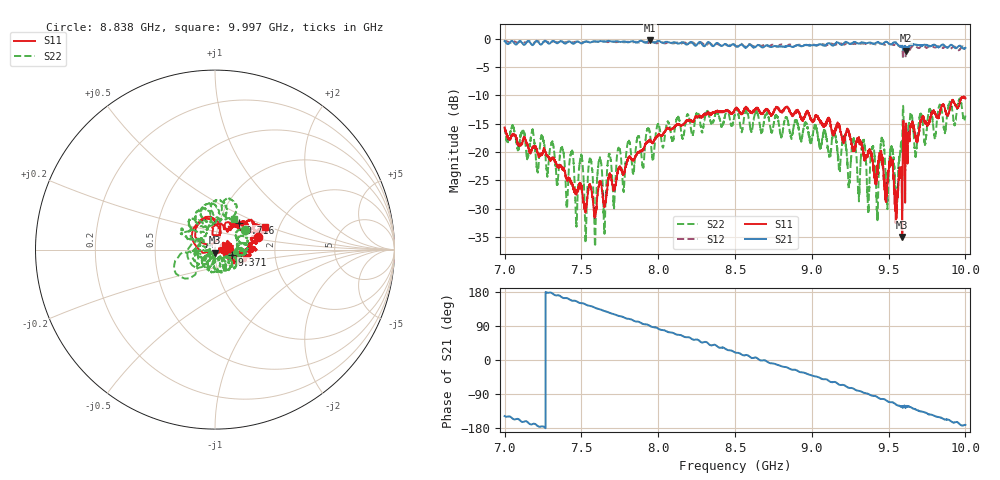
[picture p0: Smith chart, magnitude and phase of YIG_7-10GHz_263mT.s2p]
#  HZ  S  RI  R  50.0
! Rohde & Schwarz ZVL13 2Ports - Version 3.31 - 1303.6509k13 SN: 101088
! Date: 2023-03-06 15:32:27
! Data & Calibration Information:
! Trc4:S11(TOSM) Trc2:S21(TOSM) Trc3:S12(TOSM) Trc5:S22(TOSM)
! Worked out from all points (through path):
!   4000 points, 7 GHz to 10 GHz, reference 50 ohm
!   highest |S21| = -0.33 dB at 7.944 GHz (marker M1); lowest = -2.1 dB at 9.612 GHz (marker M2)
!   group delay of S21, straight-line fit = 357 ps
!   lowest |S11| = -35.0 dB at 9.589 GHz (marker M3), VSWR 1.04, Z = 50.1 - j1.79 ohm
!   |S11| at or under -10 dB: start of sweep to end of sweep
!   |S22| runs from -36.6 to -10.5 dB; largest |S21 - S12| = 0.13
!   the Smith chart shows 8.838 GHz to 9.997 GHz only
!   S11 on the Smith chart (normalised r, x): 8.838 GHz: 1.62, +0.25; 9.371 GHz: 1.20, -0.07; 9.716 GHz: 1.25, +0.39; 9.997 GHz: 1.69, +0.46
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7e9  0.035 0.1606  -0.806 -0.505  -0.7652 -0.5454  -0.0151 0.1643
7.435859e9  0.0342 0.0411  -0.8436 0.3611  -0.8622 0.3546  0.101 -0.00706
7.467367e9  0.031 0.0319  -0.8467 0.3952  -0.8456 0.4062  0.0216 -0.00425
7.500375e9  0.021 0.0466  -0.7829 0.4563  -0.799 0.4745  0.0843 -0.0416
7.588897e9  0.00287 0.0274  -0.6987 0.6362  -0.6948 0.6356  0.00297 -0.0152
7.618905e9  -0.00494 0.054  -0.659 0.68  -0.6429 0.6752  -0.00373 -0.0868
7.650413e9  -0.00744 0.0337  -0.5944 0.7305  -0.5919 0.7316  -0.00733 -0.0176
7.68042e9  -0.0137 0.0596  -0.546 0.7799  -0.5443 0.7603  -0.0447 -0.0834
7.943736e9  -0.032 0.1215  -0.0102 0.9622  -0.0314 0.9221  -0.1496 -0.0226
8e9  -0.0369 0.1374  0.1173 0.9461  0.0838 0.913  -0.1718 0.0398
8.500375e9  0.1511 0.1851  0.8212 0.2948  0.8113 0.2974  0.0398 0.2187
8.837959e9  0.242 0.0714  0.8071 -0.2834  0.8121 -0.282  0.1665 0.1092
9e9  0.1908 0.0151  0.6621 -0.5705  0.6739 -0.5789  0.1295 -0.0157
9.370593e9  0.093 -0.0298  -0.00218 -0.9204  -0.00221 -0.8957  -0.0241 -0.0264
9.457614e9  0.0808 0.028  -0.1975 -0.8713  -0.2026 -0.876  -0.1155 -0.064
9.500375e9  0.068 -0.00658  -0.3186 -0.8452  -0.2842 -0.8493  -0.0595 0.0173
9.554389e9  0.038 -0.0072  -0.4352 -0.7888  -0.4077 -0.7794  -0.0306 0.019
9.588897e9  0.00146 -0.0178  -0.4815 -0.7303  -0.5036 -0.634  -0.1007 -0.0898
9.612153e9  -0.0946 0.1395  -0.4404 -0.6486  -0.3677 -0.5926  -0.1451 -0.0608
9.715679e9  0.1362 0.1488  -0.6269 -0.6022  -0.5913 -0.6376  -0.1465 0.1476
9.996999e9  0.2764 0.1237  -0.811 -0.1269  -0.812 -0.1029  0.1074 0.1678
1e10  0.2718 0.1218  -0.8186 -0.1272  -0.7997 -0.0955  0.127 0.1669
